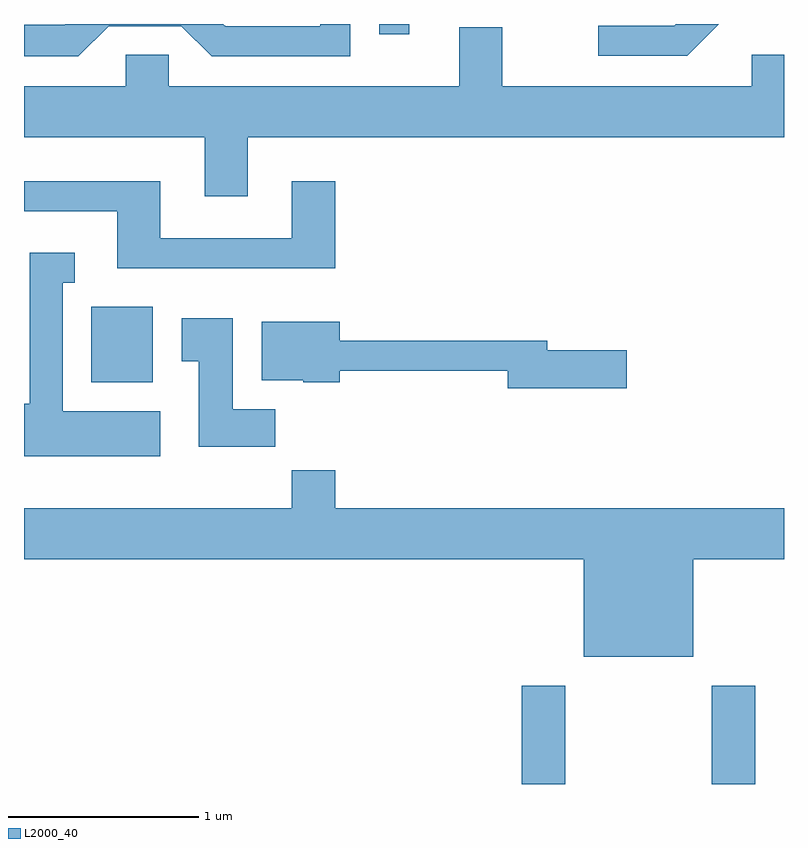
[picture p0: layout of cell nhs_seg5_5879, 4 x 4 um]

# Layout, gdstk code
import gdstk
lib = gdstk.Library(unit=1e-6, precision=1e-09)
def R(c, l, rs):  # rectangles x0, y0, x1, y1
    for r in rs: c.add(gdstk.rectangle(r[:2], r[2:], *l))
def P(c, l, *ps):  # polygons
    for p in ps: c.add(gdstk.Polygon(p, *l))
L2000_40 = (2000, 40)

nhs_seg5_5879 = lib.new_cell('nhs_seg5_5879')
R(nhs_seg5_5879, L2000_40, [(362.231,1440.072,362.459,1440.589), (363.231,1440.072,363.459,1440.589), (359.966,1442.186,360.289,1442.584), (361.481,1444.018,361.639,1444.072)])
P(nhs_seg5_5879, L2000_40, [(363.267,1444.072),(363.042,1444.072),(363.034,1444.064),(362.633,1444.064),(362.633,1443.906),(363.102,1443.906)],
  [(360.057,1444.061),(360.439,1444.061),(360.599,1443.901),(361.329,1443.901),(361.329,1444.072),(361.171,1444.072),(361.171,1444.059),(360.672,1444.059),(360.659,1444.072),(359.827,1444.072),(359.824,1444.069),(359.611,1444.069),(359.611,1443.901),(359.897,1443.901)],
  [(360.789,1443.476),(363.611,1443.476),(363.611,1443.909),(363.441,1443.909),(363.441,1443.744),(362.129,1443.744),(362.129,1444.054),(361.901,1444.054),(361.901,1443.744),(360.374,1443.744),(360.374,1443.909),(360.146,1443.909),(360.146,1443.744),(359.611,1443.744),(359.611,1443.476),(360.561,1443.476),(360.561,1443.166),(360.789,1443.166)],
  [(361.249,1443.244),(361.021,1443.244),(361.021,1442.944),(360.329,1442.944),(360.329,1443.244),(359.611,1443.244),(359.611,1443.086),(360.101,1443.086),(360.101,1442.786),(361.249,1442.786)],
  [(360.329,1442.034),(359.814,1442.034),(359.814,1442.711),(359.878,1442.711),(359.878,1442.869),(359.641,1442.869),(359.641,1442.074),(359.611,1442.074),(359.611,1441.796),(360.329,1441.796)],
  [(360.934,1442.044),(360.709,1442.044),(360.709,1442.524),(360.441,1442.524),(360.441,1442.296),(360.531,1442.296),(360.531,1441.846),(360.934,1441.846)],
  [(362.784,1442.354),(362.364,1442.354),(362.364,1442.404),(361.274,1442.404),(361.274,1442.504),(360.861,1442.504),(360.861,1442.196),(361.08,1442.196),(361.08,1442.186),(361.274,1442.186),(361.274,1442.246),(362.156,1442.246),(362.156,1442.156),(362.784,1442.156)],
  [(363.134,1441.256),(363.611,1441.256),(363.611,1441.524),(361.249,1441.524),(361.249,1441.724),(361.021,1441.724),(361.021,1441.524),(359.611,1441.524),(359.611,1441.256),(362.556,1441.256),(362.556,1440.741),(363.134,1440.741)])

lib.write_gds('nhs_seg5_5879.gds')
